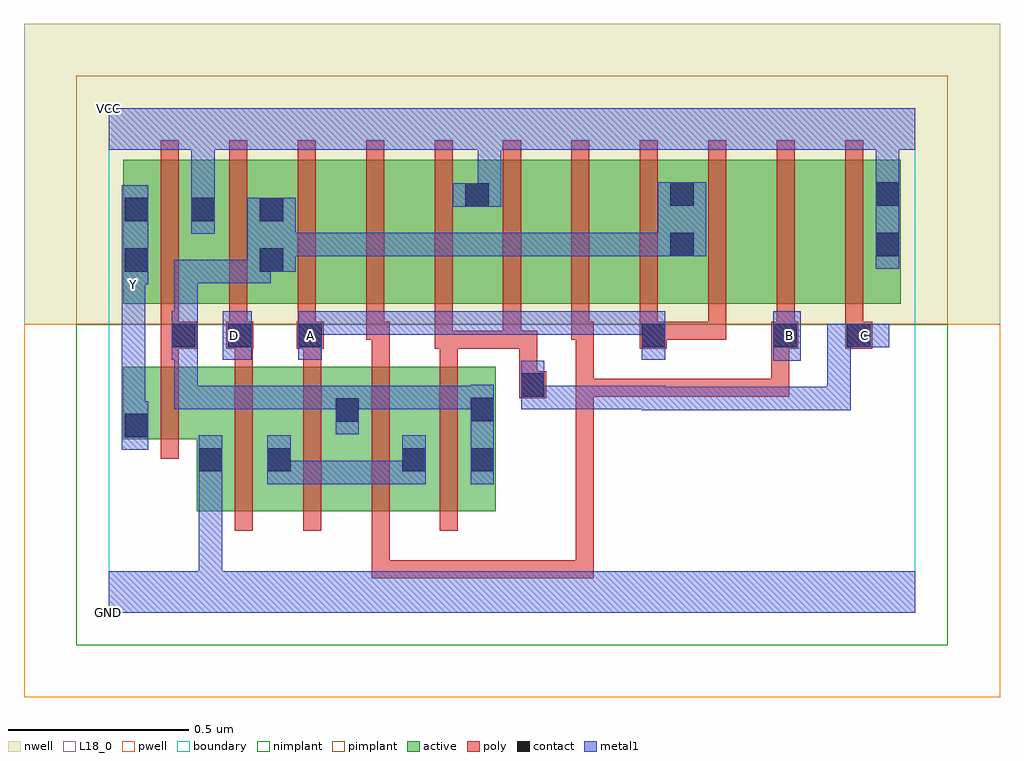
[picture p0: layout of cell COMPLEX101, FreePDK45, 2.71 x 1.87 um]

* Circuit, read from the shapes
.subckt COMPLEX101 A B C D GND VCC Y
M1 GND n1 Y VSUBS nfet w=0.2u l=0.05u
M2 n2 D GND VSUBS nfet w=0.4u l=0.05u
M3 n1 A n2 VSUBS nfet w=0.4u l=0.05u
M4 n2 B n1 VSUBS nfet w=0.4u l=0.05u
M5 n1 C n2 VSUBS nfet w=0.4u l=0.05u
M6 VCC n1 Y n3 pfet w=0.4u l=0.05u
M7 n1 D VCC n3 pfet w=0.4u l=0.05u
M8 n4 A n1 n3 pfet w=0.4u l=0.05u
M9 n5 B n4 n3 pfet w=0.4u l=0.05u
M10 VCC C n5 n3 pfet w=0.4u l=0.05u
M11 n6 C VCC n3 pfet w=0.4u l=0.05u
M12 n7 B n6 n3 pfet w=0.4u l=0.05u
M13 n1 A n7 n3 pfet w=0.4u l=0.05u
M14 n8 A n1 n3 pfet w=0.4u l=0.05u
M15 n9 B n8 n3 pfet w=0.4u l=0.05u
M16 VCC C n9 n3 pfet w=0.4u l=0.05u
.ends

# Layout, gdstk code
import gdstk
lib = gdstk.Library(unit=1e-6, precision=1e-09)
def R(c, l, rs):  # rectangles x0, y0, x1, y1
    for r in rs: c.add(gdstk.rectangle(r[:2], r[2:], *l))
def A(c, l, x, y, w, h, nx, ny, dx, dy):  # array of equal rectangles
    R(c, l, [(x+i*dx, y+j*dy, x+i*dx+w, y+j*dy+h) for i in range(nx) for j in range(ny)])
active = (1, 0)
pwell = (2, 0)
nwell = (3, 0)
nimplant = (4, 0)
pimplant = (5, 0)
poly = (9, 0)
contact = (10, 0)
metal1 = (11, 0)
L18_0 = (18, 0)
boundary = (235, 0)

complex101 = lib.new_cell('COMPLEX101')
A(complex101, active, 0.415, 0.857, 0.23, 0.4, 3, 1, 0.57, 0)
A(complex101, active, 0.645, 0.857, 0.19, 0.4, 3, 1, 0.57, 0)
A(complex101, active, 0.835, 0.857, 0.225, 0.4, 3, 1, 0.57, 0)
R(complex101, active, [(0.245,0.282,0.51,0.682), (0.245,0.282,0.32,0.597), (0.435,0.282,0.7,0.682), (0.625,0.282,0.885,0.682), (0.81,0.282,1.075,0.682), (0.625,0.33,0.7,0.682), (0.435,0.332,0.51,0.597), (0.81,0.345,0.885,0.537), (1,0.345,1.075,0.682), (0.04,0.482,0.32,0.682), (0.04,0.482,0.115,0.682), (0.04,0.857,0.3,1.257), (0.04,0.857,0.115,1.2), (0.225,0.857,0.49,1.257), (0.225,0.857,0.3,1.257), (0.415,0.857,0.49,1.2), (0.985,0.857,1.06,1.257), (1.555,0.857,1.63,1.2), (2.125,0.857,2.2,1.257)])
R(complex101, pwell, [(-0.235,-0.235,2.475,0.8)])
R(complex101, nwell, [(-0.235,0.8,2.475,1.635)])
R(complex101, nimplant, [(-0.09,-0.09,2.33,0.8)])
R(complex101, pimplant, [(-0.09,0.8,2.33,1.49)])
A(complex101, poly, 0.35, 0.227, 0.05, 0.51, 4, 1, 0.19, 0)
A(complex101, poly, 0.145, 0.757, 0.05, 0.095, 4, 1, 0.19, 0)
A(complex101, poly, 1.285, 0.757, 0.05, 0.095, 5, 1, 0.19, 0)
A(complex101, poly, 0.145, 0.802, 0.05, 0.51, 11, 1, 0.19, 0)
R(complex101, poly, [(0.73,0.095,0.78,0.277), (0.73,0.095,0.78,0.145), (0.73,0.095,0.78,0.145), (0.73,0.095,0.78,0.145), (0.73,0.095,1.012,0.145), (0.962,0.095,1.012,0.145), (0.962,0.095,1.012,0.145), (0.962,0.095,1.012,0.145), (0.962,0.095,1.202,0.145), (1.152,0.095,1.202,0.145), (1.152,0.095,1.202,0.145), (1.152,0.095,1.202,0.145), (1.152,0.095,1.202,0.145), (1.152,0.095,1.202,0.145), (1.152,0.095,1.347,0.145), (1.297,0.095,1.347,0.145), (1.297,0.095,1.347,0.65), (0.145,0.427,0.195,0.737), (1.14,0.595,1.215,0.67), (1.297,0.6,1.347,0.65), (1.297,0.6,1.347,0.65), (1.297,0.6,1.347,0.65), (1.297,0.6,1.347,0.65), (1.297,0.6,1.347,0.65), (1.297,0.6,1.582,0.65), (1.297,0.6,1.347,0.807), (1.532,0.6,1.582,0.65), (1.532,0.6,1.582,0.65), (1.532,0.6,1.582,0.65), (1.532,0.6,1.757,0.65), (1.707,0.6,1.757,0.65), (1.707,0.6,1.89,0.65), (1.84,0.6,1.89,0.782), (1.84,0.6,1.89,0.65), (1.84,0.6,1.89,0.65), (1.84,0.6,1.89,0.65), (1.84,0.6,1.89,0.65), (1.84,0.6,1.89,0.65), (1.14,0.62,1.19,0.67), (1.14,0.62,1.19,0.67), (1.14,0.62,1.19,0.782), (0.145,0.687,0.195,0.782), (0.35,0.687,0.4,0.782), (0.54,0.687,0.59,0.782), (0.73,0.687,0.78,0.807), (0.92,0.687,0.97,0.782), (0.145,0.732,0.245,0.807), (0.327,0.732,0.402,0.807), (0.522,0.732,0.597,0.807), (0.905,0.732,0.955,0.852), (0.905,0.732,0.97,0.782), (0.92,0.732,0.97,0.782), (0.92,0.732,0.97,0.782), (0.92,0.732,1.145,0.782), (1.095,0.732,1.145,0.852), (1.095,0.732,1.19,0.782), (1.475,0.732,1.55,0.807), (1.84,0.732,1.915,0.807), (2.045,0.732,2.12,0.807), (0.715,0.757,0.78,0.807), (1.285,0.757,1.347,0.807), (1.297,0.757,1.347,0.807), (1.297,0.757,1.347,0.807), (1.5,0.757,1.715,0.807), (1.665,0.757,1.715,0.807), (1.665,0.757,1.715,0.807), (1.665,0.757,1.715,0.807)])
R(complex101, contact, [(0.25,0.392,0.315,0.457), (0.44,0.392,0.505,0.457), (0.815,0.392,0.88,0.457), (1.005,0.392,1.07,0.457), (0.045,0.487,0.11,0.552), (0.63,0.53,0.695,0.595), (1.005,0.532,1.07,0.597), (1.145,0.6,1.21,0.665), (0.175,0.737,0.24,0.802), (0.332,0.737,0.397,0.802), (0.527,0.737,0.592,0.802), (1.48,0.737,1.545,0.802), (1.845,0.737,1.91,0.802), (2.05,0.737,2.115,0.802), (0.045,0.947,0.11,1.012), (0.42,0.947,0.485,1.012), (1.56,0.99,1.625,1.055), (2.13,0.99,2.195,1.055), (0.045,1.087,0.11,1.152), (0.23,1.087,0.295,1.152), (0.42,1.087,0.485,1.152), (0.99,1.127,1.055,1.192), (1.56,1.13,1.625,1.195), (2.13,1.13,2.195,1.195)])
R(complex101, metal1, [(0,0,2.24,0.115), (0.25,0.05,0.315,0.422), (0.25,0.357,0.315,0.422), (0.25,0.357,0.315,0.422), (0.25,0.357,0.315,0.422), (0.25,0.357,0.315,0.422), (0.25,0.357,0.315,0.492), (0.44,0.357,0.505,0.492), (0.44,0.357,0.695,0.422), (0.63,0.357,0.695,0.422), (0.63,0.357,0.695,0.422), (0.63,0.357,0.695,0.422), (0.63,0.357,0.88,0.422), (0.815,0.357,0.88,0.422), (0.815,0.357,0.88,0.422), (0.815,0.357,0.88,0.492), (1.005,0.357,1.07,0.632), (0.037,0.452,0.11,0.587), (0.63,0.495,0.695,0.63), (0.037,0.522,0.102,0.907), (1.48,0.562,1.545,0.627), (1.48,0.562,1.545,0.627), (1.48,0.562,1.697,0.627), (1.48,0.562,1.545,0.63), (1.632,0.562,1.697,0.627), (1.632,0.562,1.835,0.627), (1.77,0.562,1.835,0.627), (1.77,0.562,1.835,0.627), (1.77,0.562,1.835,0.627), (1.77,0.562,2.06,0.627), (1.995,0.562,2.06,0.802), (1.995,0.562,2.06,0.627), (0.182,0.565,0.247,0.63), (0.182,0.565,0.455,0.63), (0.182,0.565,0.247,0.837), (0.39,0.565,0.455,0.63), (0.39,0.565,0.455,0.63), (0.39,0.565,0.455,0.63), (0.39,0.565,0.695,0.63), (0.63,0.565,0.695,0.63), (0.63,0.565,0.695,0.63), (0.63,0.565,0.832,0.63), (0.767,0.565,0.832,0.63), (0.767,0.565,0.832,0.63), (0.767,0.565,0.832,0.63), (0.767,0.565,1.07,0.63), (1.005,0.565,1.07,0.63), (1.005,0.565,1.07,0.63), (1.145,0.565,1.21,0.63), (1.145,0.565,1.21,0.63), (1.145,0.565,1.21,0.63), (1.145,0.565,1.21,0.63), (1.145,0.565,1.21,0.7), (1.145,0.565,1.347,0.63), (1.282,0.565,1.347,0.63), (1.282,0.565,1.347,0.63), (1.282,0.565,1.347,0.63), (1.282,0.565,1.545,0.63), (1.845,0.7,1.922,0.837), (0.175,0.702,0.24,0.837), (0.317,0.702,0.397,0.837), (0.527,0.702,0.592,0.837), (1.48,0.702,1.545,0.837), (1.995,0.737,2.08,0.802), (1.995,0.737,2.06,0.802), (2.015,0.737,2.167,0.802), (0.175,0.772,0.247,0.837), (0.182,0.772,0.247,0.837), (0.182,0.772,0.247,0.98), (0.527,0.772,0.657,0.837), (0.592,0.772,0.657,0.837), (0.592,0.772,0.882,0.837), (0.817,0.772,0.882,0.837), (0.817,0.772,0.882,0.837), (0.817,0.772,0.882,0.837), (0.817,0.772,1.072,0.837), (1.007,0.772,1.072,0.837), (1.007,0.772,1.072,0.837), (1.007,0.772,1.072,0.837), (1.007,0.772,1.21,0.837), (1.145,0.772,1.21,0.837), (1.145,0.772,1.21,0.837), (1.145,0.772,1.21,0.837), (1.145,0.772,1.347,0.837), (1.282,0.772,1.347,0.837), (1.282,0.772,1.347,0.837), (1.282,0.772,1.347,0.837), (1.282,0.772,1.545,0.837), (0.037,0.842,0.102,0.977), (0.037,0.912,0.102,0.977), (0.037,0.912,0.11,1.187), (0.182,0.915,0.247,0.98), (0.182,0.915,0.45,0.98), (0.385,0.915,0.45,1.012), (0.385,0.947,0.45,1.012), (0.385,0.947,0.52,1.152), (2.13,0.955,2.195,1.23), (0.455,0.99,0.657,1.055), (0.592,0.99,0.657,1.055), (0.592,0.99,0.657,1.055), (0.592,0.99,0.657,1.055), (0.592,0.99,0.832,1.055), (0.767,0.99,0.832,1.055), (0.767,0.99,0.832,1.055), (0.767,0.99,0.832,1.055), (0.767,0.99,1.072,1.055), (1.007,0.99,1.072,1.055), (1.007,0.99,1.072,1.055), (1.007,0.99,1.072,1.055), (1.007,0.99,1.21,1.055), (1.145,0.99,1.21,1.055), (1.145,0.99,1.21,1.055), (1.145,0.99,1.21,1.055), (1.145,0.99,1.407,1.055), (1.342,0.99,1.407,1.055), (1.342,0.99,1.407,1.055), (1.342,0.99,1.407,1.055), (1.342,0.99,1.56,1.055), (1.495,0.99,1.56,1.055), (1.495,0.99,1.59,1.055), (1.525,0.99,1.66,1.195), (0.23,1.052,0.295,1.187), (0.23,1.122,0.295,1.35), (0.955,1.127,1.09,1.192), (1.025,1.127,1.09,1.35), (2.13,1.165,2.195,1.35), (0,1.285,2.24,1.4)])
R(complex101, L18_0, [(0,0,2.24,0.115), (0.25,0.05,0.315,0.422), (0.25,0.357,0.315,0.492), (0.25,0.357,0.315,0.422), (0.25,0.357,0.315,0.422), (0.25,0.357,0.315,0.422), (0.25,0.357,0.315,0.422), (0.037,0.452,0.11,0.587), (0.037,0.522,0.102,0.907), (1.48,0.562,1.545,0.627), (1.48,0.562,1.545,0.627), (1.48,0.562,1.545,0.63), (1.48,0.562,1.697,0.627), (1.632,0.562,1.697,0.627), (1.632,0.562,1.835,0.627), (1.77,0.562,1.835,0.627), (1.77,0.562,1.835,0.627), (1.77,0.562,1.835,0.627), (1.77,0.562,2.06,0.627), (1.995,0.562,2.06,0.627), (1.995,0.562,2.06,0.802), (1.145,0.565,1.21,0.7), (1.145,0.565,1.21,0.63), (1.145,0.565,1.21,0.63), (1.145,0.565,1.21,0.63), (1.145,0.565,1.21,0.63), (1.145,0.565,1.347,0.63), (1.282,0.565,1.347,0.63), (1.282,0.565,1.347,0.63), (1.282,0.565,1.347,0.63), (1.282,0.565,1.545,0.63), (1.845,0.7,1.922,0.837), (0.317,0.702,0.397,0.837), (0.527,0.702,0.592,0.837), (1.48,0.702,1.545,0.837), (0.317,0.737,0.382,0.802), (0.527,0.737,0.592,0.802), (1.857,0.737,1.922,0.802), (1.995,0.737,2.06,0.802), (1.995,0.737,2.08,0.802), (2.015,0.737,2.167,0.802), (2.067,0.737,2.132,0.802), (0.527,0.772,0.657,0.837), (0.592,0.772,0.657,0.837), (0.592,0.772,0.882,0.837), (0.817,0.772,0.882,0.837), (0.817,0.772,0.882,0.837), (0.817,0.772,0.882,0.837), (0.817,0.772,1.072,0.837), (1.007,0.772,1.072,0.837), (1.007,0.772,1.072,0.837), (1.007,0.772,1.072,0.837), (1.007,0.772,1.21,0.837), (1.145,0.772,1.21,0.837), (1.145,0.772,1.21,0.837), (1.145,0.772,1.21,0.837), (1.145,0.772,1.347,0.837), (1.282,0.772,1.347,0.837), (1.282,0.772,1.347,0.837), (1.282,0.772,1.347,0.837), (1.282,0.772,1.545,0.837), (0.037,0.842,0.102,0.977), (0.037,0.877,0.102,0.942), (0.037,0.912,0.11,1.187), (0.037,0.912,0.102,0.977), (2.13,0.955,2.195,1.23), (0.23,1.052,0.295,1.187), (0.23,1.122,0.295,1.35), (0.955,1.127,1.09,1.192), (1.025,1.127,1.09,1.35), (2.13,1.165,2.195,1.35), (0,1.285,2.24,1.4)])
R(complex101, boundary, [(0,0,2.24,1.4)])
complex101.add(gdstk.Label('A', (0.56,0.77), layer=11, texttype=0))
complex101.add(gdstk.Label('B', (1.89,0.77), layer=11, texttype=0))
complex101.add(gdstk.Label('C', (2.1,0.77), layer=11, texttype=0))
complex101.add(gdstk.Label('D', (0.35,0.77), layer=11, texttype=0))
complex101.add(gdstk.Label('Y', (0.07,0.91), layer=11, texttype=0))
complex101.add(gdstk.Label('VCC', (0,1.4), layer=11, texttype=0))
complex101.add(gdstk.Label('GND', (0,0), layer=11, texttype=0))

lib.write_gds('COMPLEX101.gds')
